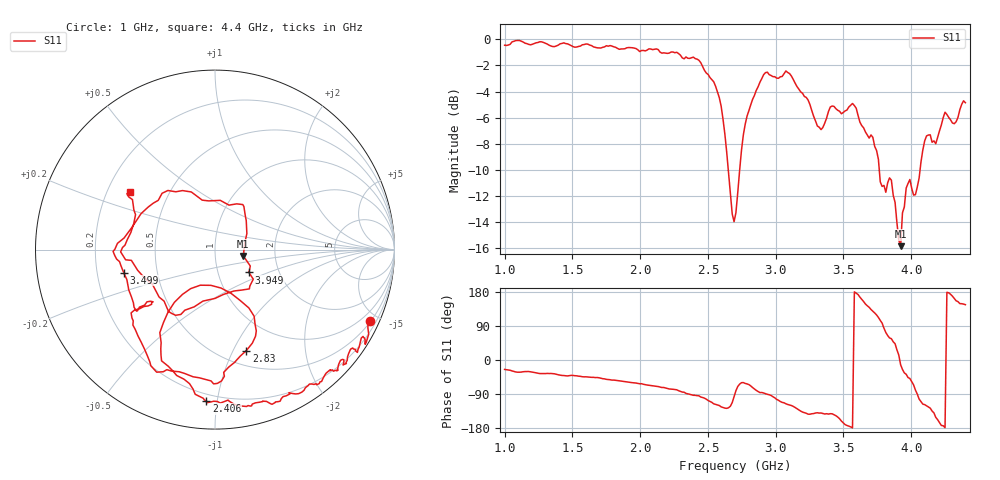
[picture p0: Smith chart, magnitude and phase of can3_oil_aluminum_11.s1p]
# MHz S MA R 50
!  freq  S11
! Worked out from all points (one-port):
!   250 points, 1 GHz to 4.4 GHz, reference 50 ohm
!   lowest |S11| = -15.8 dB at 3.922 GHz (marker M1), VSWR 1.39, Z = 68.5 - j4.95 ohm
!   |S11| at or under -10 dB: 2.65 GHz to 2.734 GHz (84.07 MHz wide, 3.12 % of centre); 3.765 GHz to 4.065 GHz (300.9 MHz wide, 7.68 % of centre)
!   S11 on the Smith chart (normalised r, x): 1 GHz: 0.56, -4.47; 2.406 GHz: 0.16, -0.93; 2.83 GHz: 0.66, -1.13; 3.499 GHz: 0.32, -0.11; 3.949 GHz: 1.41, -0.38; 4.4 GHz: 0.30, +0.28
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1000  0.9487 -24.8
1095.582  0.9896 -32.2
1436.948  0.9689 -40.9
1860.241  0.9184 -55.6
2283.534  0.8817 -81.0
2406.426  0.8435 -93.3
2597.59  0.5553 -123.6
2679.518  0.2145 -112.4
2706.827  0.217 -81.0
2761.446  0.4303 -59.6
2829.719  0.5888 -72.7
2938.956  0.7481 -90.6
3130.12  0.7016 -122.5
3239.357  0.5855 -143.0
3334.94  0.4512 -139.8
3416.867  0.5554 -141.9
3498.795  0.5247 -165.8
3553.414  0.5592 -176.5
3717.269  0.4212 128.6
3785.542  0.2735 97.3
3840.161  0.2949 58.3
3922.088  0.1616 -12.6
3949.398  0.2282 -34.0
3976.707  0.2807 -46.2
4031.325  0.2543 -79.4
4140.562  0.4309 -127.0
4249.799  0.5259 -178.6
4400  0.5719 146.0
